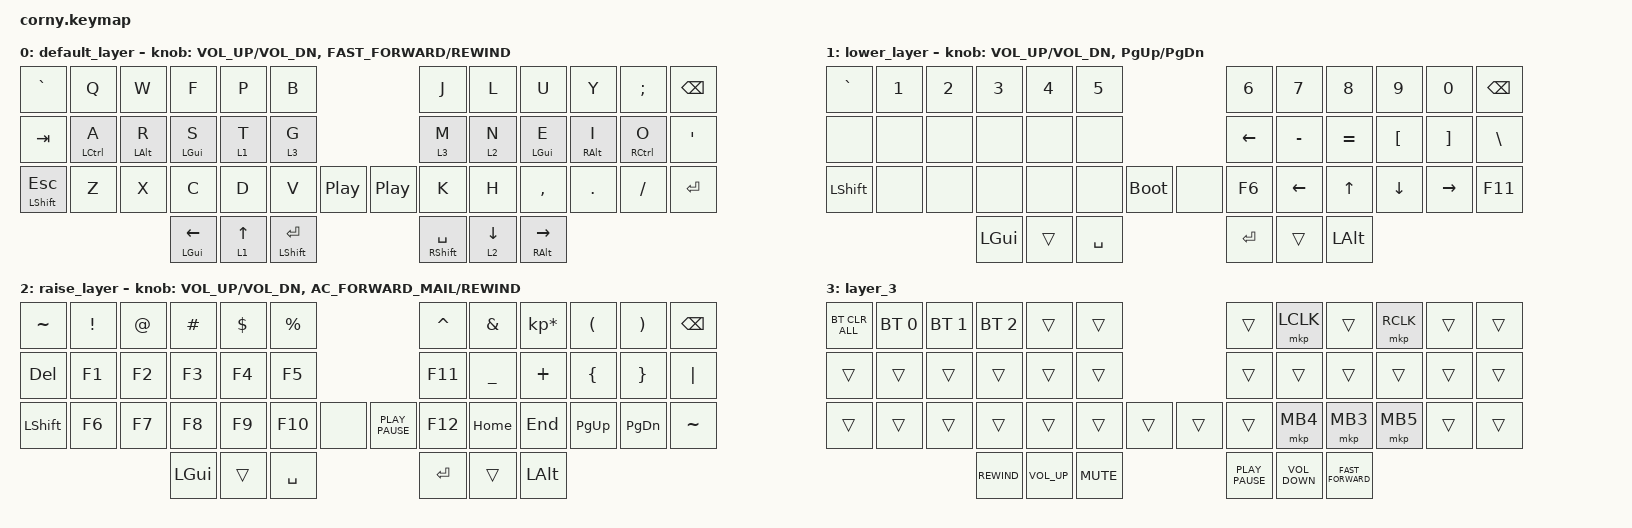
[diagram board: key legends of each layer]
#include <dt-bindings/zmk/mouse.h>
#include <behaviors.dtsi>
#include <dt-bindings/zmk/bt.h>
#include <dt-bindings/zmk/keys.h>
#include <dt-bindings/zmk/pointing.h>

/ {
    behaviors {
        behaviors {
            hm: homerow_mods {
                compatible = "zmk,behavior-hold-tap";
                #binding-cells = <2>;
                tapping-term-ms = <150>;
                quick-tap-ms = <0>;
                flavor = "balanced";
                bindings = <&kp>, <&kp>;
            };
        };

        combos {
            compatible = "zmk,combos";

            combo_left {
                bindings = <&kp LEFT_ARROW>;
                key-positions = <38 41>;
            };

            combo_right {
                bindings = <&kp RIGHT>;
                key-positions = <40 43>;
            };

            combo_down {
                bindings = <&kp DOWN>;
                key-positions = <40 42>;
            };

            combo_up {
                bindings = <&kp UP_ARROW>;
                key-positions = <41 39>;
            };
        };
    };

    keymap {
        compatible = "zmk,keymap";

        default_layer {
            // -------------------------------------------------------------------------------------------------
            // |  TAB |  Q  |  W  |  E  |  R  |  T  |                    |  Y  |  U   |  I  |  O  |  P  | BKSP |
            // | CTRL |  A  |  S  |  D  |  F  |  G  |                    |  H  |  J   |  K  |  L  |  ;  |  '   |
            // | SHFT |  Z  |  X  |  C  |  V  |  B  |  MUTE  |  |        |  N  |  M   |  ,  |  .  |  /  | ESC  |
            //                    | GUI | LWR | SPC |                    | ENT | RSE  | ALT |

            bindings = <
&kp GRAVE         &kp Q               &kp W           &kp F              &kp P           &kp B                                             &kp J                  &kp L       &kp U                &kp Y            &kp SEMICOLON        &kp BSPC
&kp TAB           &hm LEFT_CONTROL A  &hm LEFT_ALT R  &hm LEFT_GUI S     &lt 1 T         &lt 3 G                                           &lt 3 M                &lt 2 N     &hm LEFT_GUI E       &hm RIGHT_ALT I  &hm RIGHT_CONTROL O  &kp SQT
&mt LSHFT ESCAPE  &kp Z               &kp X           &kp C              &kp D           &kp V                 &kp C_PLAY_PAUSE  &kp C_PP  &kp K                  &kp H       &kp COMMA            &kp DOT          &kp FSLH             &kp ENTER
                                                      &mt LEFT_GUI LEFT  &lt 1 UP_ARROW  &mt LEFT_SHIFT ENTER                              &mt RIGHT_SHIFT SPACE  &lt 2 DOWN  &mt RIGHT_ALT RIGHT
            >;

            sensor-bindings =
                <&inc_dec_kp C_VOL_UP C_VOL_DN>,
                <&inc_dec_kp C_FAST_FORWARD C_REWIND>;
        };

        lower_layer {
            // ------------------------------------------------------------------------------------------------
            // |  TAB |  1  |  2  |  3  |  4  |  5  |                    |  6  |  7  |  8  |  9  |  0  | BKSP |
            // | BTCLR| BT1 | BT2 | BT3 | BT4 | BT5 |                    | LFT | DWN |  UP | RGT |     |  F12 |
            // | SHFT | F1  | F2  | F3  | F4  | F5  |  boot  |  |        |  F6 | F7  | F8  | F9  | F10 |  F11 |
            //                    | GUI |     | SPC |                    | ENT |     | ALT |

            bindings = <
&kp GRAVE  &kp N1  &kp N2  &kp N3    &kp N4  &kp N5                         &kp N6    &kp N7     &kp N8        &kp N9            &kp N0             &kp BSPC
&none      &none   &none   &none     &none   &none                          &kp LEFT  &kp MINUS  &kp EQUAL     &kp LEFT_BRACKET  &kp RIGHT_BRACKET  &kp BACKSLASH
&kp LSHFT  &none   &none   &none     &none   &none      &bootloader  &none  &kp F6    &kp LEFT   &kp UP_ARROW  &kp DOWN          &kp RIGHT_ARROW    &kp F11
                           &kp LGUI  &trans  &kp SPACE                      &kp RET   &trans     &kp LALT
            >;

            sensor-bindings = <&inc_dec_kp C_VOL_UP C_VOL_DN &inc_dec_kp PG_UP PG_DN>;
        };

        raise_layer {
            // ------------------------------------------------------------------------------------------------
            // |  TAB |  !  |  @  |  #  |  $  |  %  |                    |  ^  |  &  |  *  |  (  |  )  | BKSP |
            // | CTRL |     |     |     |     |     |                    |  -  |  =  |  [  |  ]  |  \  |  `   |
            // | SHFT |     |     |     |     |     |        |  |  boot  |  _  |  +  |  {  |  }  | "|" |  ~   |
            //                    | GUI |     | SPC |                    | ENT |     | ALT |

            bindings = <
&kp TILDE   &kp EXCL  &kp AT  &kp HASH  &kp DLLR  &kp PRCNT                           &kp CARET  &kp AMPS        &kp KP_MULTIPLY  &kp LPAR        &kp RPAR         &kp BSPC
&kp DELETE  &kp F1    &kp F2  &kp F3    &kp F4    &kp F5                              &kp F11    &kp UNDERSCORE  &kp PLUS         &kp LEFT_BRACE  &kp RIGHT_BRACE  &kp PIPE
&kp LSHFT   &kp F6    &kp F7  &kp F8    &kp F9    &kp F10    &none  &kp K_PLAY_PAUSE  &kp F12    &kp HOME        &kp END          &kp PAGE_UP     &kp PAGE_DOWN    &kp TILDE
                              &kp LGUI  &trans    &kp SPACE                           &kp RET    &trans          &kp LALT
            >;

            sensor-bindings =
                <&inc_dec_kp C_VOL_UP C_VOL_DN>,
                <&inc_dec_kp C_AC_FORWARD_MAIL C_REWIND>;
        };

        layer_3 {
            bindings = <
&bt BT_CLR_ALL  &bt BT_SEL 0  &bt BT_SEL 1  &bt BT_SEL 2  &trans           &trans                      &trans            &mkp LCLK          &trans              &mkp RCLK  &trans  &trans
&trans          &trans        &trans        &trans        &trans           &trans                      &trans            &trans             &trans              &trans     &trans  &trans
&trans          &trans        &trans        &trans        &trans           &trans      &trans  &trans  &trans            &mkp MB4           &mkp MB3            &mkp MB5   &trans  &trans
                                            &kp C_REWIND  &kp K_VOLUME_UP  &kp C_MUTE                  &kp K_PLAY_PAUSE  &kp K_VOLUME_DOWN  &kp C_FAST_FORWARD
            >;
        };
    };
};
